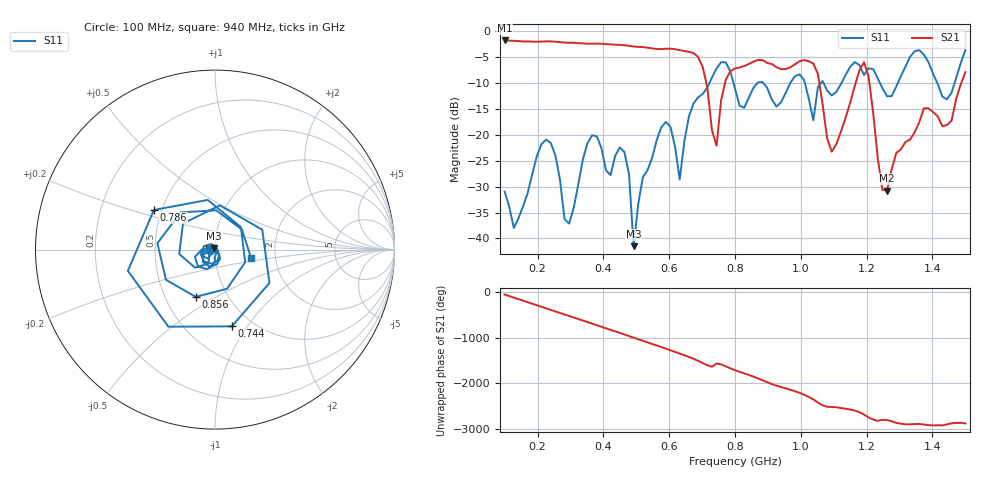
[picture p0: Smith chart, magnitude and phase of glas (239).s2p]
! NanoVNA-App
! Date: 2025-09-25 15:57:20
! Start: 100MHz Stop: 1,5GHz Points: 101
! S-Parameter data: F S11 S21 S12 S22
# Hz S RI R 50
!  Frequency  S11_Real  S11_Imag  S21_Real  S21_Imag  S12_Real  S12_Imag  S22_Real  S22_Imag
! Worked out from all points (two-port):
!   101 points, 100 MHz to 1.5 GHz, reference 50 ohm
!   highest |S21| = -1.80 dB at 100 MHz (marker M1); lowest = -30.7 dB at 1.262 GHz (marker M2)
!   |S21| within 3 dB of the highest: start of sweep to 684.3 MHz
!   lowest |S11| = -41.5 dB at 492 MHz (marker M3), VSWR 1.02, Z = 49.5 + j0.645 ohm
!   |S11| at or under -10 dB: start of sweep to 722.5 MHz; 795.4 MHz to 868.3 MHz (72.92 MHz wide, 8.77 % of centre); 886.2 MHz to 968.1 MHz (81.98 MHz wide, 8.84 % of centre) (the widest 3 of 7)
!   S12 and S22 are empty: the file has one direction only
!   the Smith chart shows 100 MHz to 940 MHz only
!   S11 on the Smith chart (normalised r, x): 100 MHz: 0.95, -0.01; 744 MHz: 0.80, -0.85; 786 MHz: 0.45, +0.24; 856 MHz: 0.71, -0.41; 940 MHz: 1.49, -0.14
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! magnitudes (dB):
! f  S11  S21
! 100 MHz  -30.9  -1.8
! 128 MHz  -38.0  -1.9
! 226 MHz  -20.9  -2.0
! 296 MHz  -37.1  -2.2
! 338 MHz  -24.7  -2.4
! 464 MHz  -23.3  -2.7
! 492 MHz  -41.5  -3.0
! 576 MHz  -18.5  -3.5
! 632 MHz  -28.6  -3.7
! 702 MHz  -12.1  -7.0
! 744 MHz  -7.2  -22.1
! 786 MHz  -7.8  -7.7
! 800 MHz  -11.1  -7.2
! 856 MHz  -10.9  -5.9
! 940 MHz  -13.7  -7.3
! 996 MHz  -8.3  -5.8
! 1.038 GHz  -17.2  -6.3
! 1.094 GHz  -12.4  -23.3
! 1.192 GHz  -8.5  -6.0
! 1.262 GHz  -12.6  -30.7
! 1.276 GHz  -12.5  -26.7
! 1.5 GHz  -3.7  -7.9
